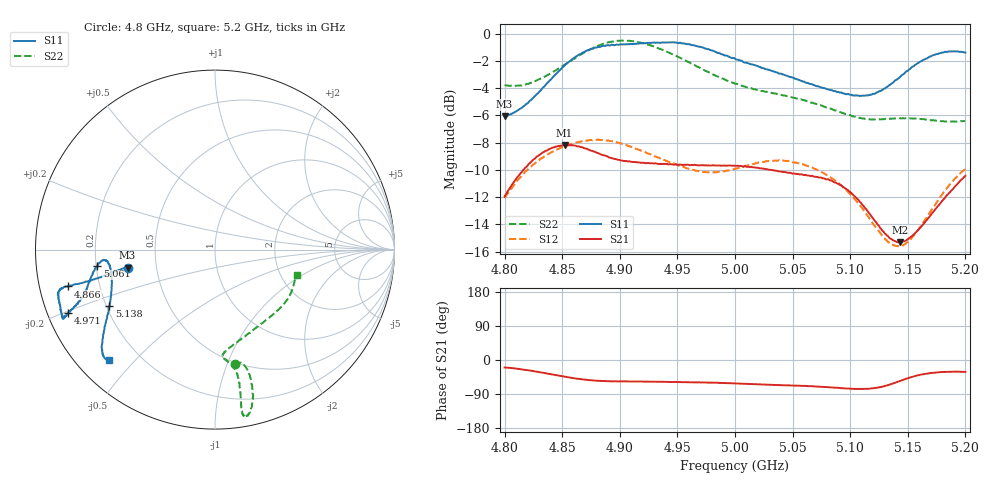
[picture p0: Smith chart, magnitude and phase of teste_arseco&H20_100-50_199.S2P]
! Network Analyzer HP8722D
! Hewlett-Packard
! Data name: Linha & Wilkinson
! Saver's name: Rodrigo Anjos
! Comments: Teste da utilização de aquisição
! continua pelo VNA HP8722D
! Time and date: 6/5/2025 14:13
!  Frequency  S11  S21  S12  S22
# HZ  S  MA R 50
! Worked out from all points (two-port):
!   401 points, 4.8 GHz to 5.2 GHz, reference 50 ohm
!   highest |S21| = -8.17 dB at 4.852 GHz (marker M1); lowest = -15.3 dB at 5.143 GHz (marker M2)
!   |S21| within 3 dB of the highest: 4.806 GHz to 5.093 GHz (286.8 MHz wide, 5.8 % of centre); 5.191483 GHz to end of sweep
!   lowest |S11| = -6.1 dB at 4.8 GHz (marker M3), VSWR 2.98, Z = 16.9 - j4.56 ohm
!   |S11| at or under -10 dB: nowhere
!   |S22| runs from -6.5 to -0.5 dB; largest |S21 - S12| = 0.62
!   S11 on the Smith chart (normalised r, x): 4.8 GHz: 0.34, -0.09; 4.866 GHz: 0.09, -0.12; 4.971 GHz: 0.06, -0.21; 5.061 GHz: 0.20, -0.07; 5.138 GHz: 0.21, -0.24; 5.2 GHz: 0.09, -0.42
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4.8e9  0.4973 -168.2  0.2525 -19.9  0.2491 -141.0  0.6474 -80.3
4.826e9  0.5891 -167.3  0.3478 -29.8  0.3335 -144.7  0.6686 -75.6
4.852e9  0.7644 -165.9  0.3903 -43.9  0.386 -149.7  0.7687 -74.6
4.866e9  0.842 -165.9  0.384 -50.4  0.4021 -152.0  0.838 -75.3
4.867e9  0.8481 -165.9  0.3829 -50.9  0.4027 -152.1  0.843 -75.5
4.898e9  0.9121 -163.1  0.3452 -56.4  0.3981 -156.6  0.9423 -79.0
4.914e9  0.9187 -159.7  0.3379 -56.6  0.3779 -157.3  0.9367 -80.3
4.934e9  0.9272 -156.4  0.3323 -57.5  0.3507 -155.8  0.8824 -80.5
4.971e9  0.8925 -156.7  0.3289 -59.3  0.3117 -146.6  0.7445 -79.7
5e9  0.8107 -159.2  0.3272 -61.8  0.3193 -137.3  0.6561 -81.3
5.035e9  0.7239 -165.4  0.3145 -66.0  0.3422 -134.5  0.6027 -85.6
5.061e9  0.6627 -172.0  0.303 -68.5  0.3288 -136.4  0.5688 -84.0
5.067e9  0.6523 -173.3  0.301 -69.1  0.3227 -136.8  0.558 -82.6
5.085e9  0.6174 -174.5  0.2867 -72.7  0.2932 -138.4  0.5267 -75.8
5.103e9  0.5944 -171.5  0.255 -76.2  0.2495 -138.8  0.4972 -65.3
5.117e9  0.5969 -164.8  0.2178 -75.5  0.2087 -135.1  0.4852 -55.0
5.134e9  0.648 -154.2  0.1779 -65.1  0.1707 -120.8  0.4871 -43.3
5.138e9  0.6672 -151.9  0.1739 -61.1  0.167 -115.6  0.4876 -40.8
5.143e9  0.6928 -149.3  0.1712 -55.6  0.166 -108.9  0.4892 -38.0
5.154e9  0.757 -144.5  0.1815 -44.4  0.1794 -95.0  0.4888 -32.3
5.173e9  0.8361 -139.0  0.2243 -33.3  0.2331 -80.8  0.4806 -24.3
5.2e9  0.8524 -133.7  0.3007 -31.5  0.3188 -77.0  0.4777 -17.5
